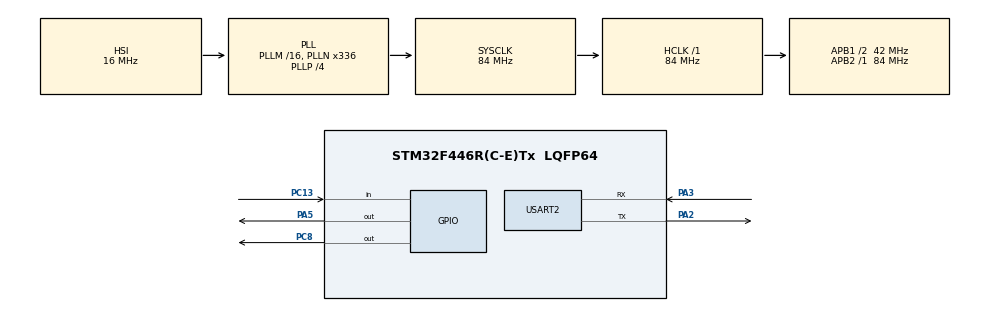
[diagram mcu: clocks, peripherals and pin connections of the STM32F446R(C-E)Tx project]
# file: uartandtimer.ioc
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Mcu.Family=STM32F4
Mcu.Name=STM32F446R(C-E)Tx
Mcu.Package=LQFP64
NVIC.PriorityGroup=NVIC_PRIORITYGROUP_0
PA2.Mode=Asynchronous
PA2.Signal=USART2_TX
PA3.Mode=Asynchronous
PA3.Signal=USART2_RX
PA5.Signal=GPIO_Output
PC13.Signal=GPIO_Input
PC8.Signal=GPIO_Output
PH0-OSC_IN.Mode=HSE-External-Oscillator
PH0-OSC_IN.Signal=RCC_OSC_IN
PH1-OSC_OUT.Mode=HSE-External-Oscillator
PH1-OSC_OUT.Signal=RCC_OSC_OUT
ProjectManager.HeapSize=0x200
ProjectManager.StackSize=0x400
ProjectManager.TargetToolchain=STM32CubeIDE
RCC.48MHZClocksFreq_Value=84000000
RCC.AHBFreq_Value=84000000
RCC.APB1CLKDivider=RCC_HCLK_DIV2
RCC.APB1Freq_Value=42000000
RCC.APB1TimFreq_Value=84000000
RCC.APB2Freq_Value=84000000
RCC.APB2TimFreq_Value=84000000
RCC.CortexFreq_Value=84000000
RCC.FLatency-AdvancedSettings=FLASH_LATENCY_2
RCC.HCLKFreq_Value=84000000
RCC.HSE_VALUE=8000000
RCC.HSI_VALUE=16000000
RCC.PLLN=336
RCC.PLLP=RCC_PLLP_DIV4
RCC.SYSCLKFreq_VALUE=84000000
RCC.SYSCLKSource=RCC_SYSCLKSOURCE_PLLCLK
RCC.USBFreq_Value=168000000
RCC.VCOOutputFreq_Value=336000000
USART2.VirtualMode=VM_ASYNC
board=NUCLEO-F446RE

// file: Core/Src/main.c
/* USER CODE BEGIN Header */
/**
  ******************************************************************************
  * @file           : main.c
  * @brief          : Main program body
  ******************************************************************************
  * @attention
  *
  * Copyright (c) 2025 STMicroelectronics.
  * All rights reserved.
  *
  * This software is licensed under terms that can be found in the LICENSE file
  * in the root directory of this software component.
  * If no LICENSE file comes with this software, it is provided AS-IS.
  *
  ******************************************************************************
  */
/* USER CODE END Header */
#include "main.h"

/* USER CODE BEGIN Includes */
#include <string.h>
#include <stdio.h>

/* USER CODE END Includes */

UART_HandleTypeDef huart2;

void SystemClock_Config(void);
static void MX_GPIO_Init(void);
static void MX_USART2_UART_Init(void);

/* USER CODE BEGIN 0 */
uint32_t led_tick = 0;
uint32_t led_interval = 100;

uint32_t start_time = 0;
uint8_t stopwatch_running = 0;
uint8_t rx;
/* USER CODE END 0 */

int main(void)
{

  /* MCU Configuration--------------------------------------------------------*/

  /* Reset of all peripherals, Initializes the Flash interface and the Systick. */
  HAL_Init();

  /* Configure the system clock */
  SystemClock_Config();

  /* Initialize all configured peripherals */
  MX_GPIO_Init();
  MX_USART2_UART_Init();
  /* USER CODE BEGIN 2 */
  char uart_msg[] = "Terminal : 1 = LED ON, 0 = LED OFF";
  HAL_UART_Transmit(&huart2, (uint8_t *)uart_msg, strlen(uart_msg), HAL_MAX_DELAY);

  /* USER CODE END 2 */

  /* Infinite loop */
  while (1)
  {

    /* USER CODE BEGIN 3 */
	  if(HAL_GetTick() - led_tick >= led_interval){
		  HAL_GPIO_TogglePin(GPIOA, GPIO_PIN_5);
		  led_tick = HAL_GetTick();

	  }

	  if(HAL_UART_Receive(&huart2, &rx, 1, 10) == HAL_OK){
		  if(rx == '1'){
			  HAL_GPIO_WritePin(GPIOC, GPIO_PIN_8, 1);
			  char onMsg[] = "led is on\r\n";
			  HAL_UART_Transmit(&huart2, (uint8_t *)onMsg, strlen(onMsg), HAL_MAX_DELAY);

		  }
		  else if(rx == '0'){
			  HAL_GPIO_WritePin(GPIOC, GPIO_PIN_8, 0);
			  char offMsg[] = "led is off\r\n";
			  HAL_UART_Transmit(&huart2, (uint8_t *)offMsg, strlen(offMsg), HAL_MAX_DELAY);

		  }
		  else if(rx == 'f'){
			  led_interval = 500;
			  char msg[] = "led frequency : 500 ms\r\n";
			  HAL_UART_Transmit(&huart2, (uint8_t *)msg, strlen(msg), HAL_MAX_DELAY);

		  }
	  }
	  //timer with button
	  if(HAL_GPIO_ReadPin(GPIOC, GPIO_PIN_13) == GPIO_PIN_SET){
		  HAL_Delay(50); //debounce
		  while(HAL_GPIO_ReadPin(GPIOC, GPIO_PIN_13) == GPIO_PIN_SET);

		  if(!stopwatch_running){
			  start_time = HAL_GetTick();
			  stopwatch_running = 1;
			  char msg[] = "Timer Started\r\n";
			  HAL_UART_Transmit(&huart2, (uint8_t *)msg, strlen(msg), HAL_MAX_DELAY);
		  }
		  else{
			  uint32_t elapsedTime = HAL_GetTick() - start_time;
			  stopwatch_running = 0;
			  char buffer[50];
			  sprintf(buffer, "Stopwatch Stopped , TIME : %lu ms \r\n", elapsedTime);
			  HAL_UART_Transmit(&huart2, (uint8_t *)buffer, strlen(buffer), HAL_MAX_DELAY);

		  }

	  }
  }
  /* USER CODE END 3 */
}

void SystemClock_Config(void)
{
  RCC_OscInitTypeDef RCC_OscInitStruct = {0};
  RCC_ClkInitTypeDef RCC_ClkInitStruct = {0};

  /** Configure the main internal regulator output voltage
  */
  __HAL_RCC_PWR_CLK_ENABLE();
  __HAL_PWR_VOLTAGESCALING_CONFIG(PWR_REGULATOR_VOLTAGE_SCALE3);

  /** Initializes the RCC Oscillators according to the specified parameters
  * in the RCC_OscInitTypeDef structure.
  */
  RCC_OscInitStruct.OscillatorType = RCC_OSCILLATORTYPE_HSI;
  RCC_OscInitStruct.HSIState = RCC_HSI_ON;
  RCC_OscInitStruct.HSICalibrationValue = RCC_HSICALIBRATION_DEFAULT;
  RCC_OscInitStruct.PLL.PLLState = RCC_PLL_ON;
  RCC_OscInitStruct.PLL.PLLSource = RCC_PLLSOURCE_HSI;
  RCC_OscInitStruct.PLL.PLLM = 16;
  RCC_OscInitStruct.PLL.PLLN = 336;
  RCC_OscInitStruct.PLL.PLLP = RCC_PLLP_DIV4;
  RCC_OscInitStruct.PLL.PLLQ = 2;
  RCC_OscInitStruct.PLL.PLLR = 2;
  if (HAL_RCC_OscConfig(&RCC_OscInitStruct) != HAL_OK)
  {
    Error_Handler();
  }

  /** Initializes the CPU, AHB and APB buses clocks
  */
  RCC_ClkInitStruct.ClockType = RCC_CLOCKTYPE_HCLK|RCC_CLOCKTYPE_SYSCLK
                              |RCC_CLOCKTYPE_PCLK1|RCC_CLOCKTYPE_PCLK2;
  RCC_ClkInitStruct.SYSCLKSource = RCC_SYSCLKSOURCE_PLLCLK;
  RCC_ClkInitStruct.AHBCLKDivider = RCC_SYSCLK_DIV1;
  RCC_ClkInitStruct.APB1CLKDivider = RCC_HCLK_DIV2;
  RCC_ClkInitStruct.APB2CLKDivider = RCC_HCLK_DIV1;

  if (HAL_RCC_ClockConfig(&RCC_ClkInitStruct, FLASH_LATENCY_2) != HAL_OK)
  {
    Error_Handler();
  }
}

static void MX_USART2_UART_Init(void)
{

  huart2.Instance = USART2;
  huart2.Init.BaudRate = 115200;
  huart2.Init.WordLength = UART_WORDLENGTH_8B;
  huart2.Init.StopBits = UART_STOPBITS_1;
  huart2.Init.Parity = UART_PARITY_NONE;
  huart2.Init.Mode = UART_MODE_TX_RX;
  huart2.Init.HwFlowCtl = UART_HWCONTROL_NONE;
  huart2.Init.OverSampling = UART_OVERSAMPLING_16;
  if (HAL_UART_Init(&huart2) != HAL_OK)
  {
    Error_Handler();
  }

}

static void MX_GPIO_Init(void)
{
  GPIO_InitTypeDef GPIO_InitStruct = {0};

  /* GPIO Ports Clock Enable */
  __HAL_RCC_GPIOC_CLK_ENABLE();
  __HAL_RCC_GPIOH_CLK_ENABLE();
  __HAL_RCC_GPIOA_CLK_ENABLE();

  /*Configure GPIO pin Output Level */
  HAL_GPIO_WritePin(GPIOA, GPIO_PIN_5, GPIO_PIN_RESET);

  /*Configure GPIO pin Output Level */
  HAL_GPIO_WritePin(GPIOC, GPIO_PIN_8, GPIO_PIN_RESET);

  /*Configure GPIO pin : PC13 */
  GPIO_InitStruct.Pin = GPIO_PIN_13;
  GPIO_InitStruct.Mode = GPIO_MODE_INPUT;
  GPIO_InitStruct.Pull = GPIO_NOPULL;
  HAL_GPIO_Init(GPIOC, &GPIO_InitStruct);

  /*Configure GPIO pin : PA5 */
  GPIO_InitStruct.Pin = GPIO_PIN_5;
  GPIO_InitStruct.Mode = GPIO_MODE_OUTPUT_PP;
  GPIO_InitStruct.Pull = GPIO_NOPULL;
  GPIO_InitStruct.Speed = GPIO_SPEED_FREQ_LOW;
  HAL_GPIO_Init(GPIOA, &GPIO_InitStruct);

  /*Configure GPIO pin : PC8 */
  GPIO_InitStruct.Pin = GPIO_PIN_8;
  GPIO_InitStruct.Mode = GPIO_MODE_OUTPUT_PP;
  GPIO_InitStruct.Pull = GPIO_NOPULL;
  GPIO_InitStruct.Speed = GPIO_SPEED_FREQ_LOW;
  HAL_GPIO_Init(GPIOC, &GPIO_InitStruct);

}

void Error_Handler(void)
{
  __disable_irq();
  while (1)
  {
  }
}
